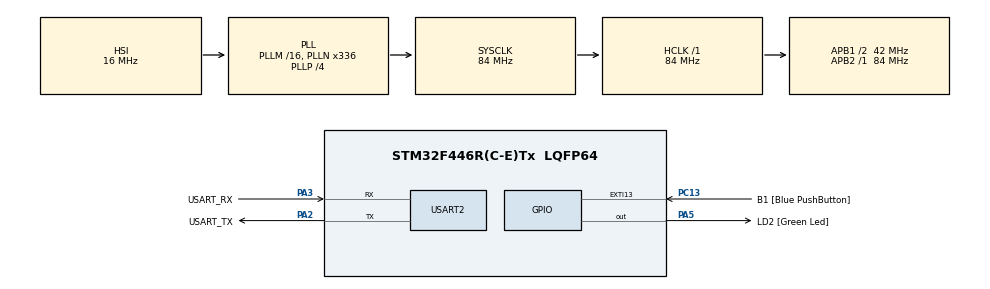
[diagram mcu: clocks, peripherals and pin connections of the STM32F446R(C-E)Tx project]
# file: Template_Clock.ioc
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Mcu.Family=STM32F4
Mcu.Name=STM32F446R(C-E)Tx
Mcu.Package=LQFP64
NVIC.PriorityGroup=NVIC_PRIORITYGROUP_0
PA13.GPIO_Label=TMS
PA13.Mode=Serial_Wire
PA13.Signal=SYS_JTMS-SWDIO
PA14.GPIO_Label=TCK
PA14.Mode=Serial_Wire
PA14.Signal=SYS_JTCK-SWCLK
PA2.GPIO_Label=USART_TX
PA2.Mode=Asynchronous
PA2.Signal=USART2_TX
PA3.GPIO_Label=USART_RX
PA3.Mode=Asynchronous
PA3.Signal=USART2_RX
PA5.GPIO_Label=LD2 [Green Led]
PA5.Signal=GPIO_Output
PB3.GPIO_Label=SWO
PB3.Signal=SYS_JTDO-SWO
PC13.GPIO_Label=B1 [Blue PushButton]
PC13.GPIO_ModeDefaultEXTI=GPIO_MODE_IT_FALLING
PC13.Signal=GPXTI13
PC14-OSC32_IN.Mode=LSE-External-Oscillator
PC14-OSC32_IN.Signal=RCC_OSC32_IN
PC15-OSC32_OUT.Mode=LSE-External-Oscillator
PC15-OSC32_OUT.Signal=RCC_OSC32_OUT
PH0-OSC_IN.Mode=HSE-External-Oscillator
PH0-OSC_IN.Signal=RCC_OSC_IN
PH1-OSC_OUT.Mode=HSE-External-Oscillator
PH1-OSC_OUT.Signal=RCC_OSC_OUT
ProjectManager.HeapSize=0x200
ProjectManager.StackSize=0x400
ProjectManager.TargetToolchain=STM32CubeIDE
RCC.48MHZClocksFreq_Value=84000000
RCC.AHBFreq_Value=84000000
RCC.APB1CLKDivider=RCC_HCLK_DIV2
RCC.APB1Freq_Value=42000000
RCC.APB1TimFreq_Value=84000000
RCC.APB2Freq_Value=84000000
RCC.APB2TimFreq_Value=84000000
RCC.CortexFreq_Value=84000000
RCC.FLatency-AdvancedSettings=FLASH_LATENCY_2
RCC.HCLKFreq_Value=84000000
RCC.HSE_VALUE=8000000
RCC.HSI_VALUE=16000000
RCC.PLLN=336
RCC.PLLP=RCC_PLLP_DIV4
RCC.SYSCLKFreq_VALUE=84000000
RCC.SYSCLKSource=RCC_SYSCLKSOURCE_PLLCLK
RCC.USBFreq_Value=168000000
RCC.VCOOutputFreq_Value=336000000
USART2.VirtualMode=VM_ASYNC
board=NUCLEO-F446RE

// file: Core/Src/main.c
/* USER CODE BEGIN Header */
/**
  ******************************************************************************
  * @file           : main.c
  * @brief          : Main program body
  ******************************************************************************
  * @attention
  *
  * Copyright (c) 2025 STMicroelectronics.
  * All rights reserved.
  *
  * This software is licensed under terms that can be found in the LICENSE file
  * in the root directory of this software component.
  * If no LICENSE file comes with this software, it is provided AS-IS.
  *
  ******************************************************************************
  */
/* USER CODE END Header */
#include "main.h"

UART_HandleTypeDef huart2;

void SystemClock_Config(void);
static void MX_GPIO_Init(void);
static void MX_USART2_UART_Init(void);
/* USER CODE BEGIN PFP */
void clock50MHz(void);
/* USER CODE END PFP */

int main(void)
{

  /* MCU Configuration--------------------------------------------------------*/

  /* Reset of all peripherals, Initializes the Flash interface and the Systick. */
  HAL_Init();

  /* Configure the system clock */
  SystemClock_Config();

  /* Initialize all configured peripherals */
  MX_GPIO_Init();
  MX_USART2_UART_Init();

  /* Infinite loop */
  while (1)
  {

    /* USER CODE BEGIN 3 */
	  //Ao pressionar o botão altera o clock de 84 MHz para 50 MHz
	  if(HAL_GPIO_ReadPin(B1_GPIO_Port, B1_Pin) == GPIO_PIN_RESET)
	  {
		  clock50MHz();
	  }
	  HAL_GPIO_TogglePin(LD2_GPIO_Port, LD2_Pin);
	  HAL_Delay(1000);
//	  for (int var = 0; var < 1000000; ++var)
//	  {}
  }
  /* USER CODE END 3 */
}

void SystemClock_Config(void)
{
  RCC_OscInitTypeDef RCC_OscInitStruct = {0};
  RCC_ClkInitTypeDef RCC_ClkInitStruct = {0};

  /** Configure the main internal regulator output voltage
  */
  __HAL_RCC_PWR_CLK_ENABLE();
  __HAL_PWR_VOLTAGESCALING_CONFIG(PWR_REGULATOR_VOLTAGE_SCALE3);

  /** Initializes the RCC Oscillators according to the specified parameters
  * in the RCC_OscInitTypeDef structure.
  */
  RCC_OscInitStruct.OscillatorType = RCC_OSCILLATORTYPE_HSI;
  RCC_OscInitStruct.HSIState = RCC_HSI_ON;
  RCC_OscInitStruct.HSICalibrationValue = RCC_HSICALIBRATION_DEFAULT;
  RCC_OscInitStruct.PLL.PLLState = RCC_PLL_ON;
  RCC_OscInitStruct.PLL.PLLSource = RCC_PLLSOURCE_HSI;
  RCC_OscInitStruct.PLL.PLLM = 16;
  RCC_OscInitStruct.PLL.PLLN = 336;
  RCC_OscInitStruct.PLL.PLLP = RCC_PLLP_DIV4;
  RCC_OscInitStruct.PLL.PLLQ = 2;
  RCC_OscInitStruct.PLL.PLLR = 2;
  if (HAL_RCC_OscConfig(&RCC_OscInitStruct) != HAL_OK)
  {
    Error_Handler();
  }

  /** Initializes the CPU, AHB and APB buses clocks
  */
  RCC_ClkInitStruct.ClockType = RCC_CLOCKTYPE_HCLK|RCC_CLOCKTYPE_SYSCLK
                              |RCC_CLOCKTYPE_PCLK1|RCC_CLOCKTYPE_PCLK2;
  RCC_ClkInitStruct.SYSCLKSource = RCC_SYSCLKSOURCE_PLLCLK;
  RCC_ClkInitStruct.AHBCLKDivider = RCC_SYSCLK_DIV1;
  RCC_ClkInitStruct.APB1CLKDivider = RCC_HCLK_DIV2;
  RCC_ClkInitStruct.APB2CLKDivider = RCC_HCLK_DIV1;

  if (HAL_RCC_ClockConfig(&RCC_ClkInitStruct, FLASH_LATENCY_2) != HAL_OK)
  {
    Error_Handler();
  }
}

static void MX_USART2_UART_Init(void)
{

  huart2.Instance = USART2;
  huart2.Init.BaudRate = 115200;
  huart2.Init.WordLength = UART_WORDLENGTH_8B;
  huart2.Init.StopBits = UART_STOPBITS_1;
  huart2.Init.Parity = UART_PARITY_NONE;
  huart2.Init.Mode = UART_MODE_TX_RX;
  huart2.Init.HwFlowCtl = UART_HWCONTROL_NONE;
  huart2.Init.OverSampling = UART_OVERSAMPLING_16;
  if (HAL_UART_Init(&huart2) != HAL_OK)
  {
    Error_Handler();
  }

}

static void MX_GPIO_Init(void)
{
  GPIO_InitTypeDef GPIO_InitStruct = {0};

  /* GPIO Ports Clock Enable */
  __HAL_RCC_GPIOC_CLK_ENABLE();
  __HAL_RCC_GPIOH_CLK_ENABLE();
  __HAL_RCC_GPIOA_CLK_ENABLE();
  __HAL_RCC_GPIOB_CLK_ENABLE();

  /*Configure GPIO pin Output Level */
  HAL_GPIO_WritePin(LD2_GPIO_Port, LD2_Pin, GPIO_PIN_RESET);

  /*Configure GPIO pin : B1_Pin */
  GPIO_InitStruct.Pin = B1_Pin;
  GPIO_InitStruct.Mode = GPIO_MODE_IT_FALLING;
  GPIO_InitStruct.Pull = GPIO_NOPULL;
  HAL_GPIO_Init(B1_GPIO_Port, &GPIO_InitStruct);

  /*Configure GPIO pin : LD2_Pin */
  GPIO_InitStruct.Pin = LD2_Pin;
  GPIO_InitStruct.Mode = GPIO_MODE_OUTPUT_PP;
  GPIO_InitStruct.Pull = GPIO_NOPULL;
  GPIO_InitStruct.Speed = GPIO_SPEED_FREQ_LOW;
  HAL_GPIO_Init(LD2_GPIO_Port, &GPIO_InitStruct);

}

/* USER CODE BEGIN 4 */
/*
 * Altera o clock para 50 MHz via registradores
 */
void clock50MHz(void)
{
	//         HSI    / PLLM * PLLN / PLLP / AHB Prescaler
	//50 MHz = 16 MHz / 16  *  300  / 6    / 1

	//Liga o HSI
	RCC->CR |= 1<<0;
	//Espera estabilizar o clock
	while(!(RCC->CR & (1<<1)));

	//Troca a fonte de clock de
	//PLLCLK para HSI de 16 MHz
	//sem PLL
	RCC->CFGR &= ~0x00000003;//SW = 0b00

	//Desliga o main PLL
	RCC->CR &= ~(1<<24);

	//PLL Source Mux = HSI
	RCC->PLLCFGR &= ~(1<<22);
	//PLLM = 16
	RCC->PLLCFGR &= ~(0x3F<<0);
	RCC->PLLCFGR |= (16<<0);
	//PLLN = 300
	RCC->PLLCFGR &= ~(0x3FF<<6);
	RCC->PLLCFGR |= (300<<6);
	//PLLP = 6
	RCC->PLLCFGR &= ~(0x3<<16);
	RCC->PLLCFGR |= (2<<16);

	//AHB Prescaller = 1
	RCC->CFGR &= ~(0xF<<4);

	//Latência da flash (ajuste para overclock)
	FLASH->ACR = FLASH_ACR_LATENCY_5WS;

	//Liga o main PLL
	RCC->CR |= (1<<24);
	//Espera estabilizar o main PLL
	while(!(RCC->CR & (1<<25)));

	//System Clock Mux = PLLP
	RCC->CFGR &= ~(0x3<<0);
	RCC->CFGR |= (1<<1);
}
/* USER CODE END 4 */

void Error_Handler(void)
{
  __disable_irq();
  while (1)
  {
  }
}
